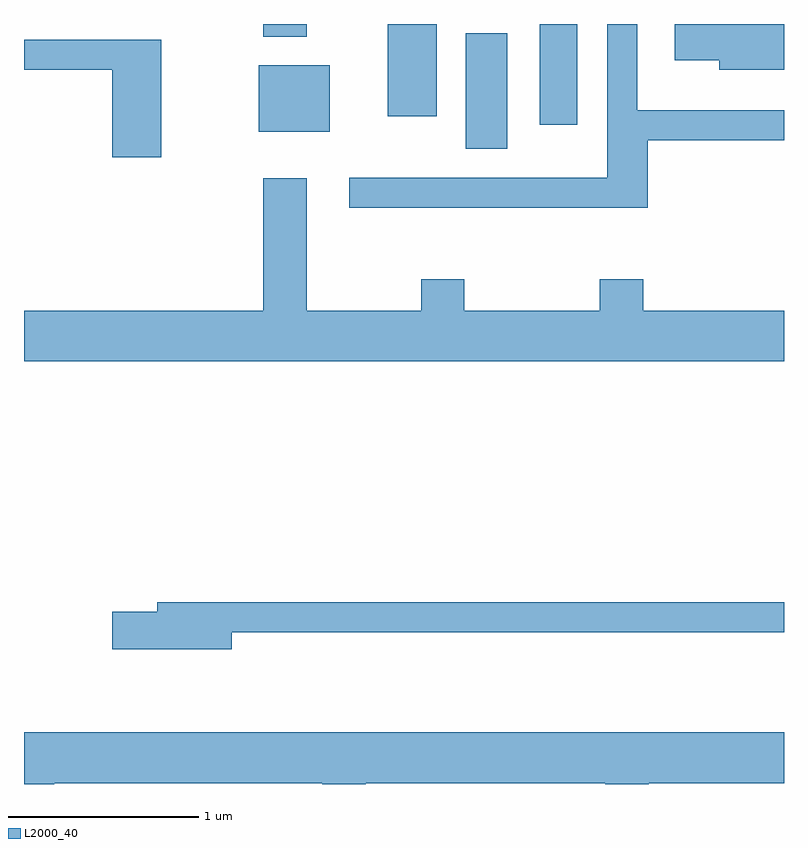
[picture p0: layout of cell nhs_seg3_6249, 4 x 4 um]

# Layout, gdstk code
import gdstk
lib = gdstk.Library(unit=1e-6, precision=1e-09)
def R(c, l, rs):  # rectangles x0, y0, x1, y1
    for r in rs: c.add(gdstk.rectangle(r[:2], r[2:], *l))
def P(c, l, *ps):  # polygons
    for p in ps: c.add(gdstk.Polygon(p, *l))
L2000_40 = (2000, 40)

nhs_seg3_6249 = lib.new_cell('nhs_seg3_6249')
R(nhs_seg3_6249, L2000_40, [(369.936,1249.236,370.154,1249.844), (368.846,1249.326,369.219,1249.674), (370.326,1249.361,370.524,1249.892), (369.526,1249.406,369.784,1249.892), (368.871,1249.826,369.099,1249.892)])
P(nhs_seg3_6249, L2000_40, [(371.611,1249.892),(371.036,1249.892),(371.036,1249.701),(371.271,1249.701),(371.271,1249.651),(371.611,1249.651)],
  [(370.894,1249.281),(371.611,1249.281),(371.611,1249.439),(370.839,1249.439),(370.839,1249.892),(370.681,1249.892),(370.681,1249.084),(369.323,1249.084),(369.323,1248.926),(370.894,1248.926)],
  [(368.334,1249.809),(367.611,1249.809),(367.611,1249.651),(368.076,1249.651),(368.076,1249.191),(368.334,1249.191)],
  [(371.611,1248.384),(370.869,1248.384),(370.869,1248.549),(370.641,1248.549),(370.641,1248.384),(369.929,1248.384),(369.929,1248.549),(369.701,1248.549),(369.701,1248.384),(369.099,1248.384),(369.099,1249.079),(368.871,1249.079),(368.871,1248.384),(367.611,1248.384),(367.611,1248.116),(371.611,1248.116)],
  [(368.704,1246.691),(371.611,1246.691),(371.611,1246.849),(368.311,1246.849),(368.311,1246.799),(368.076,1246.799),(368.076,1246.601),(368.704,1246.601)],
  [(367.769,1245.896),(369.181,1245.896),(369.181,1245.892),(369.409,1245.892),(369.409,1245.896),(370.671,1245.896),(370.671,1245.892),(370.899,1245.892),(370.899,1245.896),(371.611,1245.896),(371.611,1246.164),(367.611,1246.164),(367.611,1245.892),(367.769,1245.892)])

lib.write_gds('nhs_seg3_6249.gds')
